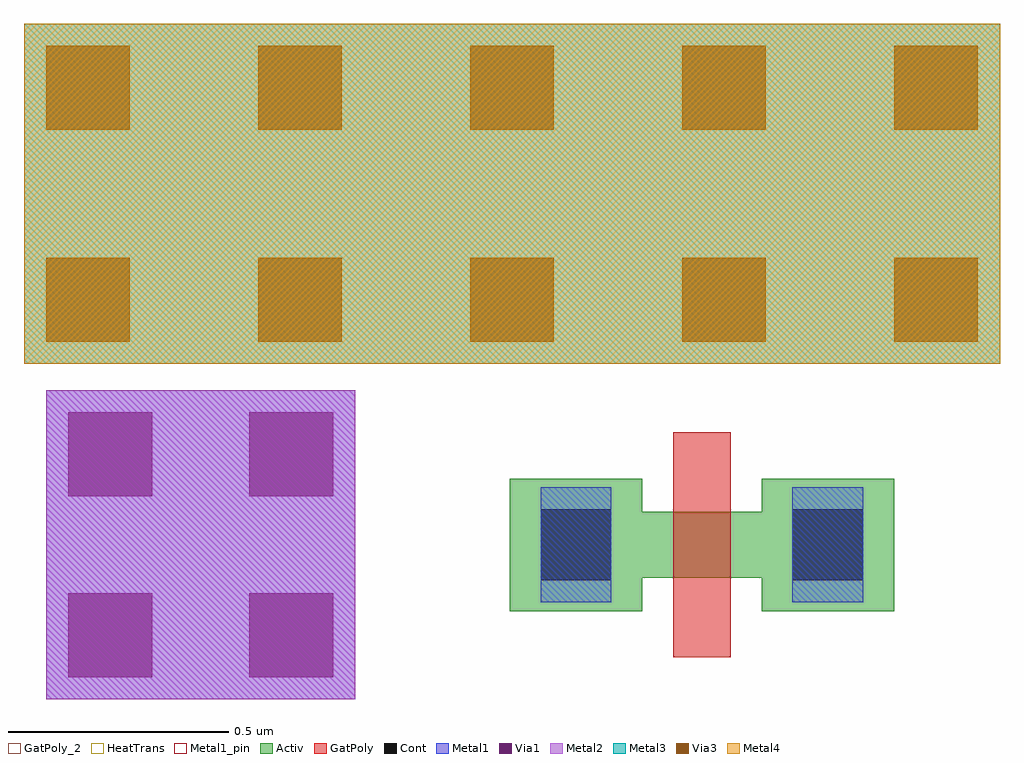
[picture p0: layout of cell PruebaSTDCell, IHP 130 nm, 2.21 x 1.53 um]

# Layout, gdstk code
from math import pi, radians
import gdstk
lib = gdstk.Library(unit=1e-6, precision=1e-09)
def R(c, l, rs):  # rectangles x0, y0, x1, y1
    for r in rs: c.add(gdstk.rectangle(r[:2], r[2:], *l))
def A(c, l, x, y, w, h, nx, ny, dx, dy):  # array of equal rectangles
    R(c, l, [(x+i*dx, y+j*dy, x+i*dx+w, y+j*dy+h) for i in range(nx) for j in range(ny)])
Activ = (1, 0)
GatPoly = (5, 0)
GatPoly_2 = (5, 2)
Cont = (6, 0)
Metal1 = (8, 0)
Metal1_pin = (8, 2)
Metal2 = (10, 0)
Via1 = (19, 0)
Metal3 = (30, 0)
Via3 = (49, 0)
Metal4 = (50, 0)
HeatTrans = (51, 0)

via_stack = lib.new_cell('via_stack')
R(via_stack, Metal1, [(-0.35,-0.35,0.35,0.35)])
R(via_stack, Metal2, [(-0.35,-0.35,0.35,0.35)])
R(via_stack, Via1, [(-0.3,-0.3,-0.11,-0.11), (0.11,-0.3,0.3,-0.11), (-0.3,0.11,-0.11,0.3), (0.11,0.11,0.3,0.3)])

via_stack_1 = lib.new_cell('via_stack$1')
R(via_stack_1, Metal3, [(-0.385,-1.105,0.385,1.105)])
A(via_stack_1, Via3, -0.335, -1.055, 0.19, 0.19, 1, 5, 0, 0.48)
A(via_stack_1, Via3, 0.145, -1.055, 0.19, 0.19, 1, 5, 0, 0.48)
R(via_stack_1, Metal4, [(-0.385,-1.105,0.385,1.105)])

nmos = lib.new_cell('nmos')
R(nmos, Activ, [(0,0,0.3,0.3), (0.57,0,0.87,0.3), (0,0.075,0.87,0.225)])
R(nmos, GatPoly, [(0.37,-0.105,0.5,0.405)])
R(nmos, GatPoly_2, [(0.37,-0.105,0.5,0.405)])
R(nmos, Cont, [(0.07,0.07,0.23,0.23), (0.64,0.07,0.8,0.23)])
R(nmos, Metal1, [(0.07,0.02,0.23,0.28), (0.64,0.02,0.8,0.28)])
R(nmos, Metal1_pin, [(0.07,0.02,0.23,0.28), (0.64,0.02,0.8,0.28)])
R(nmos, HeatTrans, [(0.37,-0.105,0.5,0.405)])
nmos.add(gdstk.Label('nmos', (0.435,0.15), layer=63, texttype=0))
nmos.add(gdstk.Label('nmos', (0.435,0.15), layer=51, texttype=0))

pruebastdcell = lib.new_cell('PruebaSTDCell')
pruebastdcell.add(gdstk.Reference(via_stack, (-0.16,0.765)))
pruebastdcell.add(gdstk.Reference(via_stack_1, (0.545,1.56), rotation=pi/2))
pruebastdcell.add(gdstk.Reference(nmos, (1.41,0.915), rotation=pi))

lib.write_gds('PruebaSTDCell.gds')
